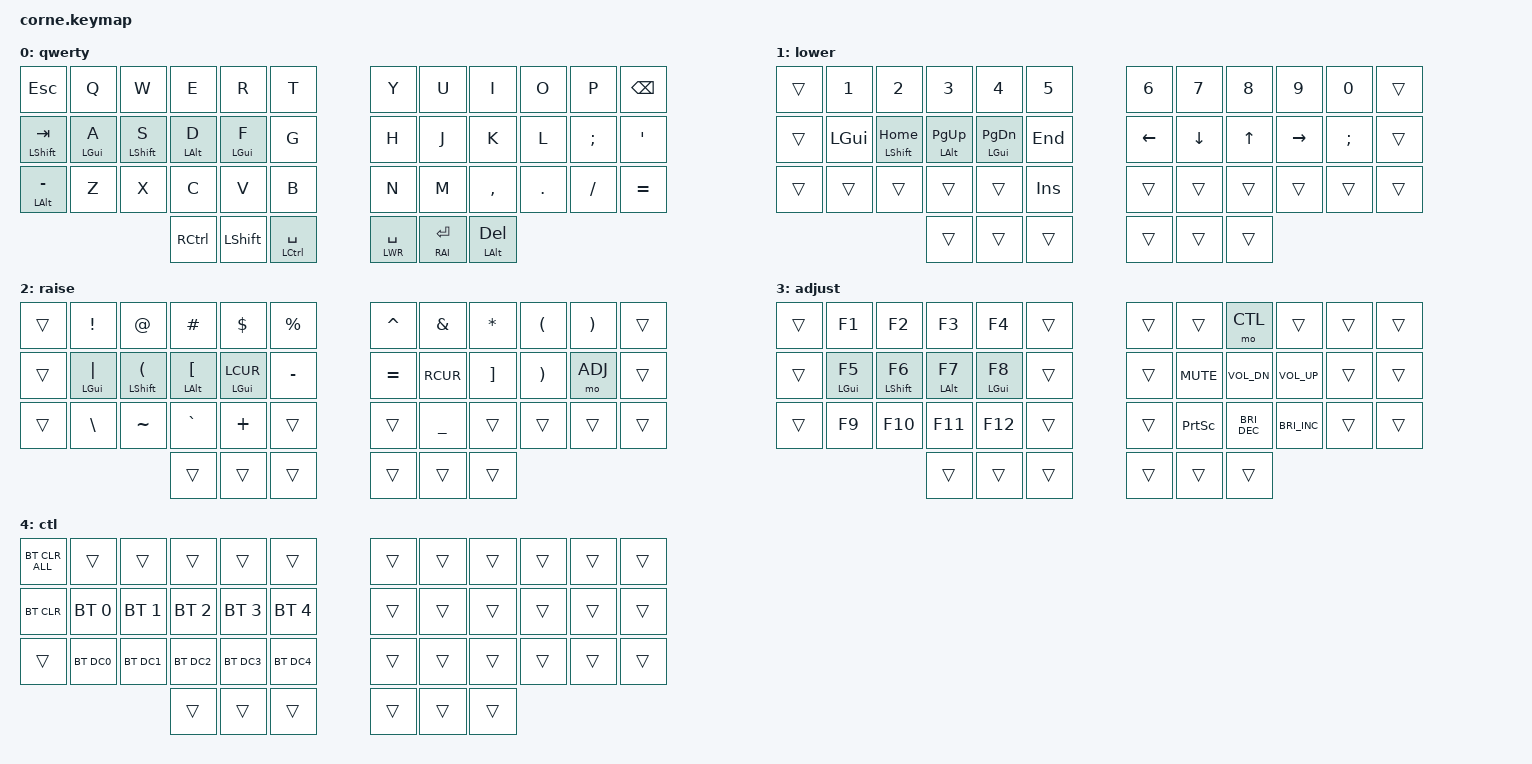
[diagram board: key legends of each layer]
/*
 * Copyright (c) 2020 The ZMK Contributors
 *
 * SPDX-License-Identifier: MIT
 */

#include <behaviors.dtsi>
#include <dt-bindings/zmk/keys.h>
#include <dt-bindings/zmk/bt.h>
#include <dt-bindings/zmk/ext_power.h>
#include <dt-bindings/zmk/outputs.h>

// Layer Definitions
#define QWE 0
#define LWR 1
#define RAI 2
#define ADJ 3
#define CTL 4
#define MOU 5

#define BT_SEL0 BT_SEL 0
#define BT_SEL1 BT_SEL 1
#define BT_SEL2 BT_SEL 2
#define BT_SEL3 BT_SEL 3
#define BT_SEL4 BT_SEL 4

#define BT_DC0 BT_DISC 0
#define BT_DC1 BT_DISC 1
#define BT_DC2 BT_DISC 2
#define BT_DC3 BT_DISC 3
#define BT_DC4 BT_DISC 4

// Behavior configuration
&mt {
    tapping-term-ms = <165>;
    quick_tap_ms = <200>;
};
&lt {
    tapping-term-ms = <165>;
    quick_tap_ms = <200>;
};
&sk {
    release-after-ms = <500>;
    quick-release;
};

/ {
    behaviors {
        hm: homerow_mods {
            compatible = "zmk,behavior-hold-tap";
            #binding-cells = <2>;
			flavor = "tap-preferred";
            tapping-term-ms = <165>;
            quick-tap-ms = <200>;
			require-prior-idle-ms = <125>;
            bindings = <&kp>, <&kp>;
        };
    };

    keymap {
        compatible = "zmk,keymap";

        qwerty {
            bindings = <
    &kp ESC         &kp Q         &kp W          &kp E          &kp R          &kp T                &kp Y          &kp U         &kp I          &kp O         &kp P          &kp BSPC
    &mt LSHFT TAB   &hm LGUI A    &hm LSHFT S    &hm LALT D     &hm LGUI F     &kp G                &kp H          &kp J         &kp K          &kp L         &kp SEMI       &kp SQT
    &mt LALT MINUS  &kp Z         &kp X          &kp C          &kp V          &kp B                &kp N          &kp M         &kp COMMA      &kp DOT       &kp FSLH       &kp EQUAL
                                                   &kp RCTRL      &kp LSHFT  &mt LCTRL SPACE      &lt LWR SPACE  &lt RAI ENTER &mt LALT DEL
            >;
        };

        lower {
            bindings = <
    &trans          &kp N1        &kp N2         &kp N3         &kp N4         &kp N5               &kp N6         &kp N7        &kp N8         &kp N9        &kp N0         &trans
    &trans          &kp LGUI      &hm LSHFT HOME &hm LALT PG_UP &hm LGUI PG_DN &kp END              &kp LEFT       &kp DOWN      &kp UP         &kp RIGHT     &kp SEMI       &trans
    &trans          &trans        &trans         &trans         &trans         &kp INS              &trans         &trans        &trans         &trans        &trans         &trans
                                                   &trans         &trans         &trans           &trans         &trans        &trans
            >;
        };

        raise {
            bindings = <
    &trans          &kp EXCL      &kp AT         &kp HASH       &kp DLLR       &kp PRCNT            &kp CARET      &kp AMPS      &kp STAR       &kp LPAR      &kp RPAR       &trans
    &trans          &hm LGUI PIPE &hm LSHFT LPAR &hm LALT LBKT  &hm LGUI LCUR  &kp MINUS            &kp EQUAL      &kp RCUR      &kp RBKT       &kp RPAR      &mo ADJ        &trans
    &trans          &kp BSLH      &kp TILDE      &kp GRAVE      &kp PLUS       &trans               &trans         &kp UNDER     &trans         &trans        &trans         &trans
                                                   &trans         &trans         &trans           &trans         &trans        &trans
            >;
        };

        adjust {
            bindings = <
    &trans          &kp F1        &kp F2         &kp F3         &kp F4         &trans               &trans         &trans        &mo CTL        &trans        &trans         &trans
    &trans          &hm LGUI F5   &hm LSHFT F6   &hm LALT F7    &hm LGUI F8    &trans               &trans         &kp C_MUTE    &kp C_VOL_DN   &kp C_VOL_UP  &trans         &trans
    &trans          &kp F9        &kp F10        &kp F11        &kp F12        &trans               &trans         &kp PSCRN     &kp C_BRI_DEC  &kp C_BRI_INC &trans         &trans
                                                   &trans         &trans         &trans           &trans         &trans        &trans
            >;
        };

        ctl {
            bindings = <
    &bt BT_CLR_ALL  &trans        &trans         &trans         &trans         &trans               &trans         &trans        &trans         &trans        &trans         &trans
    &bt BT_CLR      &bt BT_SEL0   &bt BT_SEL1    &bt BT_SEL2    &bt BT_SEL3    &bt BT_SEL4          &trans         &trans        &trans         &trans        &trans         &trans
    &trans          &bt BT_DC0    &bt BT_DC1     &bt BT_DC2     &bt BT_DC3     &bt BT_DC4           &trans         &trans        &trans         &trans        &trans         &trans
                                                   &trans         &trans         &trans           &trans         &trans        &trans
            >;
        };
    };
};
